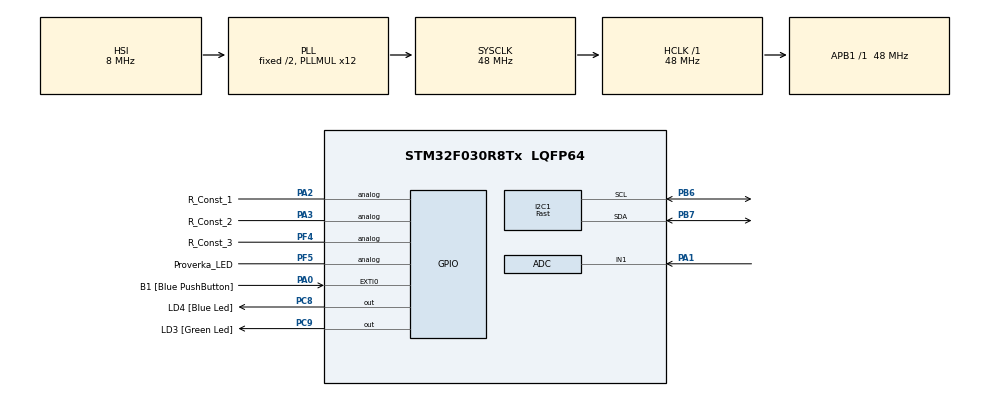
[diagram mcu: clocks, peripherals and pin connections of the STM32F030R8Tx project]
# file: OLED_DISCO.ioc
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ADC.ClockPrescaler=ADC_CLOCK_SYNC_PCLK_DIV4
ADC.ContinuousConvMode=ENABLE
ADC.EOCSelection=ADC_EOC_SEQ_CONV
ADC.EnableAnalogWatchDog=false
ADC.SamplingTime=ADC_SAMPLETIME_55CYCLES_5
I2C1.I2C_Speed_Mode=I2C_Fast
I2C1.Timing=0x0000020B
Mcu.Family=STM32F0
Mcu.Name=STM32F030R8Tx
Mcu.Package=LQFP64
NVIC.ADC1_IRQn=true\:3\:0\:true\:false\:true\:true\:true\:true
NVIC.EXTI0_1_IRQn=true\:0\:0\:true\:false\:true\:true\:true\:true
NVIC.I2C1_IRQn=true\:0\:0\:false\:false\:true\:true\:true\:true
NVIC.TIM3_IRQn=true\:3\:0\:true\:false\:true\:true\:true\:true
PA0.GPIO_Label=B1 [Blue PushButton]
PA0.GPIO_ModeDefaultEXTI=GPIO_MODE_IT_RISING
PA0.GPIO_PuPd=GPIO_PULLDOWN
PA0.Signal=GPXTI0
PA1.Mode=IN1
PA1.Signal=ADC_IN1
PA13.GPIO_Label=SWDIO
PA13.Mode=Serial_Wire
PA13.Signal=SYS_SWDIO
PA14.GPIO_Label=SWCLK
PA14.Mode=Serial_Wire
PA14.Signal=SYS_SWCLK
PA2.GPIO_Label=R_Const_1
PA2.Signal=GPIO_Analog
PA3.GPIO_Label=R_Const_2
PA3.Signal=GPIO_Analog
PB6.GPIO_FM6=SYSCFG_CFGR1_I2C_FMP_PB6
PB6.GPIO_Pu=GPIO_NOPULL
PB6.Mode=I2C
PB6.Signal=I2C1_SCL
PB7.GPIO_FM7=SYSCFG_CFGR1_I2C_FMP_PB7
PB7.GPIO_Pu=GPIO_NOPULL
PB7.Mode=I2C
PB7.Signal=I2C1_SDA
PC8.GPIO_Label=LD4 [Blue Led]
PC8.Signal=GPIO_Output
PC9.GPIO_Label=LD3 [Green Led]
PC9.Signal=GPIO_Output
PF0-OSC_IN.Mode=HSE-External-Oscillator
PF0-OSC_IN.Signal=RCC_OSC_IN
PF1-OSC_OUT.Mode=HSE-External-Oscillator
PF1-OSC_OUT.Signal=RCC_OSC_OUT
PF4.GPIO_Label=R_Const_3
PF4.GPIO_Mode=GPIO_MODE_ANALOG
PF4.Signal=GPIO_Analog
PF5.GPIO_Label=Proverka_LED
PF5.Signal=GPIO_Analog
ProjectManager.HeapSize=0x200
ProjectManager.StackSize=0x400
ProjectManager.TargetToolchain=STM32CubeIDE
RCC.AHBFreq_Value=48000000
RCC.APB1Freq_Value=48000000
RCC.APB1TimFreq_Value=48000000
RCC.HCLKFreq_Value=48000000
RCC.PLLMUL=RCC_PLL_MUL12
RCC.PWR_Regulator_Voltage_Scale=PWR_REGULATOR_VOLTAGE_SCALE2
RCC.RCC_TIM_PRescaler_Selection=RCC_TIMPRES_DESACTIVATED
RCC.SYSCLKFreq_VALUE=48000000
RCC.SYSCLKSource=RCC_SYSCLKSOURCE_PLLCLK
TIM3.Period=1
TIM3.Prescaler=15999
VP_TIM3_VS_ClockSourceINT.Mode=Internal
board=STM32F0308-DISCO

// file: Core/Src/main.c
/* USER CODE BEGIN Header */
/**
  ******************************************************************************
  * @file           : main.c
  * @brief          : Main program body
  ******************************************************************************
  * @attention
  *
  * Copyright (c) 2022 STMicroelectronics.
  * All rights reserved.
  *
  * This software is licensed under terms that can be found in the LICENSE file
  * in the root directory of this software component.
  * If no LICENSE file comes with this software, it is provided AS-IS.
  *
  ******************************************************************************
  */
/* USER CODE END Header */
#include "main.h"

/* USER CODE BEGIN Includes */
#include "ssd1306.h"
/* USER CODE END Includes */

ADC_HandleTypeDef hadc;

I2C_HandleTypeDef hi2c1;

TIM_HandleTypeDef htim3;

/* USER CODE BEGIN PV */
const float R_Const_1 = 180.0;    // R1 = 180.0 om
const float R_Const_2 = 4700.0;   // R2 = 4.7 кom
const float R_Const_3 = 100000.0; // R3 = 100.0 кom
float R0 = R_Const_2;
uint32_t uiADC;

uint8_t mstrelka_vlevo_passiv[32]  = {0x0, 0x0, 0x0, 0x80, 0x80, 0x40, 0x40, 0x20, 0x20, 0x10, 0x10, 0x8, 0x8, 0x4, 0x4, 0x0, 0x0, 0x1, 0x1, 0x2, 0x2, 0x4, 0x4, 0x8, 0x8, 0x10, 0x10, 0x20, 0x20, 0x40, 0x40, 0x0};
uint8_t mstrelka_vlevo_activ[32]   = {0xFF, 0xFF, 0xFF, 0x7F, 0x7F, 0xBF, 0xBF, 0xDF, 0xDF, 0xEF, 0xEF, 0xF7, 0xF7, 0xFB, 0xFB, 0xFF, 0xFF, 0xFE, 0xFE, 0xFD, 0xFD, 0xFB, 0xFB, 0xF7, 0xF7, 0xEF, 0xEF, 0xDF, 0xDF, 0xBF, 0xBF, 0xFF};
uint8_t mOK_passiv[48]             = {0x0, 0x0, 0x0, 0xF8, 0xFC, 0x4, 0x4, 0x4, 0x4, 0xFC, 0xF8, 0x0, 0x0, 0x0, 0xFC, 0xFC, 0xC0, 0x60, 0x30, 0x18, 0xC, 0x4, 0x0, 0x0, 0x0, 0x0, 0x0, 0x1F, 0x3F, 0x20, 0x20, 0x20, 0x20, 0x3F, 0x1F, 0x0, 0x0, 0x0, 0x3F, 0x3F, 0x1, 0x3, 0xE, 0x18, 0x30, 0x20, 0x0, 0x0};
uint8_t mOK_activ[48]              = {0xFF, 0xFF, 0x7, 0x3, 0x3, 0xF3, 0xF3, 0x3, 0x3, 0x7, 0xFF, 0xFF, 0xFF, 0x3, 0x3, 0x3, 0x3F, 0x1F, 0x8F, 0xC3, 0xE3, 0xF3, 0xFF, 0xFF, 0xFF, 0xFF, 0xE0, 0xC0, 0xC0, 0xCF, 0xCF, 0xC0, 0xC0, 0xE0, 0xFF, 0xFF, 0xFF, 0xC0, 0xC0, 0xC0, 0xFE, 0xFC, 0xF0, 0xC1, 0xC7, 0xCF, 0xFF, 0xFF};
uint8_t mstrelka_vpravo_passiv[32] = {0x0, 0x4, 0x4, 0x8, 0x8, 0x10, 0x10, 0x20, 0x20, 0x40, 0x40, 0x80, 0x80, 0x0, 0x0, 0x0, 0x0, 0x40, 0x40, 0x20, 0x20, 0x10, 0x10, 0x8, 0x8, 0x4, 0x4, 0x2, 0x2, 0x1, 0x1, 0x0};
uint8_t mstrelka_vpravo_activ[32]  = {0xFF, 0xFB, 0xFB, 0xF7, 0xF7, 0xEF, 0xEF, 0xDF, 0xDF, 0xBF, 0xBF, 0x7F, 0x7F, 0xFF, 0xFF, 0xFF, 0xFF, 0xBF, 0xBF, 0xDF, 0xDF, 0xEF, 0xEF, 0xF7, 0xF7, 0xFB, 0xFB, 0xFD, 0xFD, 0xFE, 0xFE, 0xFF};

uint8_t m220[32]                   = {0x0, 0x00, 0xC0, 0x20, 0x20, 0xC0, 0x00, 0xC0, 0x20, 0x20, 0xC0, 0x00, 0xC0, 0x20, 0x20, 0xC0, 0x0, 0x00, 0x38, 0x24, 0x22, 0x31, 0x00, 0x38, 0x24, 0x22, 0x31, 0x00, 0x1F, 0x20, 0x20, 0x1F};
uint8_t mL_Proverka_LED[32]        = {0x00, 0x0, 0xFC, 0xFC, 0xFC, 0x0, 0x0, 0x0, 0x0, 0x0, 0x0, 0x0, 0x0, 0x0, 0x0, 0x00, 0x00, 0x0, 0x7F, 0x7F, 0x7F, 0x60, 0x60, 0x60, 0x60, 0x60, 0x78, 0x78, 0x78, 0x0, 0x00, 0x00};
uint8_t m75[32]                    = {0x0, 0x00, 0x20, 0x20, 0x20, 0xE0, 0x00, 0xE0, 0x20, 0x20, 0x20, 0x00, 0x00, 0x00, 0x00, 0x00, 0x0, 0x00, 0x38, 0x04, 0x02, 0x01, 0x00, 0x11, 0x21, 0x21, 0x1E, 0x00, 0x00, 0x00, 0x00, 0x00};
uint8_t m22[32]                    = {0x0, 0x00, 0xC0, 0x20, 0x20, 0xC0, 0x00, 0xC0, 0x20, 0x20, 0xC0, 0x00, 0x00, 0x00, 0x00, 0x00, 0x0, 0x00, 0x38, 0x24, 0x22, 0x31, 0x00, 0x38, 0x24, 0x22, 0x31, 0x00, 0x00, 0x00, 0x00, 0x00};
uint8_t mV_Napriagenie[32]         = {0x00, 0x1C, 0x7C, 0xF0, 0xC0, 0x0, 0x0, 0x00, 0x0, 0x0, 0x0, 0xC0, 0xF0, 0x7C, 0x1C, 0x00, 0x00, 0x0, 0x00, 0x1, 0x7, 0xF, 0x1C, 0x78, 0x78, 0x1C, 0xF, 0x7, 0x1, 0x0, 0x00, 0x00};
uint8_t mR_Soprotivlenie[32]       = {0x00, 0x0, 0xFC, 0xFC, 0xFC, 0xC, 0xC, 0xC, 0xC, 0xC, 0xF8, 0xF8, 0xF0, 0x0, 0x0, 0x00, 0x00, 0x0, 0x7F, 0x7F, 0x7F, 0x7, 0xF, 0x1F, 0x3B, 0x73, 0x61, 0x61, 0x40, 0x0, 0x00, 0x00};

uint8_t m1[48]                     = {0x00, 0x00, 0x0, 0x80, 0xC0, 0xE0, 0xF8, 0xF8, 0x0, 0x0, 0x0, 0x0, 0x00, 0x00, 0x00, 0x00, 0x00, 0x00, 0x1, 0x1, 0x1, 0x1, 0xFF, 0xFF, 0x0, 0x0, 0x0, 0x0, 0x00, 0x00, 0x00, 0x00, 0x00, 0x0, 0xE0, 0xE0, 0xE0, 0xE0, 0xFF, 0xFF, 0xE0, 0xE0, 0xE0, 0xE0, 0x0, 0x0, 0x0, 0x0};
uint8_t m2[48]                     = {0x00, 0x00, 0xC0, 0xE0, 0x70, 0x38, 0x38, 0x38, 0x38, 0x70, 0xE0, 0xC0, 0x00, 0x00, 0x00, 0x00, 0x00, 0x00, 0x1, 0x1, 0x0, 0x80, 0xC0, 0xE0, 0x70, 0x38, 0x1F, 0xF, 0x00, 0x00, 0x00, 0x00, 0x00, 0x00, 0xFC, 0xFE, 0xE7, 0xE3, 0xE1, 0xE0, 0xE0, 0xE0, 0xFC, 0xFC, 0x0, 0x0, 0x0, 0x0};
uint8_t m3[48]                     = {0x00, 0x00, 0xC0, 0xE0, 0x70, 0x38, 0x38, 0x38, 0x38, 0x70, 0xE0, 0xC0, 0x00, 0x00, 0x00, 0x00, 0x00, 0x00, 0x1, 0x1, 0x0, 0x0, 0x20, 0x70, 0x70, 0xF8, 0xDF, 0x8F, 0x00, 0x00, 0x00, 0x00, 0x00, 0x0, 0x1C, 0x3C, 0x70, 0xE0, 0xE0, 0xE0, 0xE0, 0x70, 0x3F, 0x1F, 0x0, 0x0, 0x0, 0x0};
uint8_t m4[48]                     = {0x00, 0x00, 0x0, 0x0, 0x0, 0x0, 0x80, 0xC0, 0xE0, 0x70, 0xF8, 0xF8, 0x00, 0x00, 0x00, 0x00, 0x00, 0x00, 0xF8, 0xFC, 0x8E, 0x87, 0x83, 0x81, 0x80, 0x80, 0xFF, 0xFF, 0x00, 0x00, 0x00, 0x00, 0x00, 0x0, 0x3, 0x3, 0x3, 0x3, 0x3, 0x3, 0x3, 0x3, 0xFF, 0xFF, 0x0, 0x0, 0x0, 0x0};
uint8_t m5[48]                     = {0x00, 0x00, 0xF8, 0xF8, 0x38, 0x38, 0x38, 0x38, 0x38, 0x38, 0x38, 0x38, 0x00, 0x00, 0x00, 0x00, 0x00, 0x00, 0xF, 0xF, 0xE, 0xE, 0xE, 0xE, 0xE, 0x1C, 0xF8, 0xF0, 0x00, 0x00, 0x00, 0x00, 0x00, 0x0, 0x1C, 0x3C, 0x70, 0xE0, 0xE0, 0xE0, 0xE0, 0x70, 0x3F, 0x1F, 0x0, 0x0, 0x0, 0x0};
uint8_t m6[48]                     = {0x00, 0x00, 0x0, 0x0, 0x80, 0xC0, 0xE0, 0x70, 0x38, 0x18, 0x18, 0x0, 0x00, 0x00, 0x00, 0x00, 0x00, 0x00, 0xFE, 0xFF, 0x73, 0x71, 0x70, 0x70, 0x70, 0xE0, 0xC0, 0x80, 0x0, 0x00, 0x00, 0x00, 0x00, 0x0, 0x1F, 0x3F, 0x70, 0xE0, 0xE0, 0xE0, 0xE0, 0x70, 0x3F, 0x1F, 0x0, 0x0, 0x0, 0x0};
uint8_t m7[48]                     = {0x00, 0x00, 0x38, 0x38, 0x38, 0x38, 0x38, 0x38, 0x38, 0x38, 0xF8, 0xF8, 0x00, 0x00, 0x00, 0x00, 0x00, 0x00, 0x0, 0x0, 0x0, 0x80, 0xC0, 0xE0, 0x70, 0x38, 0x1F, 0xF, 0x0, 0x00, 0x00, 0x00, 0x00, 0x0, 0x0, 0x0, 0xFF, 0xFF, 0x1, 0x0, 0x0, 0x0, 0x0, 0x0, 0x0, 0x0, 0x0, 0x0};
uint8_t m8[48]                     = {0x00, 0x00, 0xC0, 0xE0, 0x70, 0x38, 0x38, 0x38, 0x38, 0x70, 0xE0, 0xC0, 0x00, 0x00, 0x00, 0x00, 0x00, 0x00, 0x8F, 0xDF, 0xF8, 0x70, 0x70, 0x70, 0x70, 0xF8, 0xDF, 0x8F, 0x0, 0x00, 0x00, 0x00, 0x00, 0x0, 0x1F, 0x3F, 0x70, 0xE0, 0xE0, 0xE0, 0xE0, 0x70, 0x3F, 0x1F, 0x0, 0x0, 0x0, 0x0};
uint8_t m9[48]                     = {0x00, 0x00, 0xC0, 0xE0, 0x70, 0x38, 0x38, 0x38, 0x38, 0x70, 0xE0, 0xC0, 0x00, 0x00, 0x00, 0x00, 0x00, 0x00, 0xF, 0x1F, 0x38, 0x70, 0x70, 0x70, 0x70, 0x70, 0xFF, 0xFF, 0x0, 0x00, 0x00, 0x00, 0x00, 0x0, 0x0, 0xC0, 0xC0, 0xE0, 0x70, 0x38, 0x1C, 0xE, 0x7, 0x3, 0x0, 0x0, 0x0, 0x0};
uint8_t m0[48]                     = {0x00, 0x00, 0xC0, 0xE0, 0x70, 0x38, 0x38, 0x38, 0x38, 0x70, 0xE0, 0xC0, 0x00, 0x00, 0x00, 0x00, 0x00, 0x00, 0xFF, 0xFF, 0x0, 0x0, 0x0, 0x0, 0x0, 0x0, 0xFF, 0xFF, 0x0, 0x00, 0x00, 0x00, 0x00, 0x0, 0x1F, 0x3F, 0x70, 0xE0, 0xE0, 0xE0, 0xE0, 0x70, 0x3F, 0x1F, 0x0, 0x0, 0x0, 0x0};

uint8_t mMegaOmy[48]               = {0x00, 0x00, 0xF8, 0xF8, 0xF8, 0xE0, 0x80, 0x0, 0x0, 0x0, 0x80, 0xE0, 0xF8, 0xF8, 0xF8, 0x00, 0x00, 0x00, 0xFF, 0xFF, 0xFF, 0x3, 0xF, 0x3E, 0xF8, 0x3E, 0xF, 0x3, 0xFF, 0xFF, 0xFF, 0x00, 0x00, 0x0, 0xFF, 0xFF, 0xFF, 0x0, 0x0, 0x0, 0x0, 0x0, 0x0, 0x0, 0xFF, 0xFF, 0xFF, 0x0};
uint8_t mKiloOmy[24]               = {0x00, 0x00, 0x00, 0x00, 0x00, 0x00, 0x00, 0x00, 0x00, 0xFC, 0xFC, 0x80, 0xC0, 0xF0, 0x3C, 0xC, 0x00, 0xFF, 0xFF, 0x3, 0xF, 0x3C, 0xF0, 0xC0};
uint8_t mOmy[24]                   = {0x00, 0x00, 0x00, 0x00, 0x00, 0x00, 0x00, 0x00, 0x00, 0x00, 0x00, 0x00, 0x00, 0x00, 0x00, 0x00, 0x00, 0x00, 0x00, 0x00, 0x00, 0x00, 0x00, 0x00};
uint8_t mBolshe[48]                = {0x00, 0x00, 0x18, 0x38, 0x78, 0xF0, 0xE0, 0xC0, 0x80, 0x0, 0x0, 0x0, 0x0, 0x0, 0x0, 0x00, 0x00, 0x00, 0x0, 0x0, 0x0, 0x0, 0x1, 0x3, 0x7, 0x8F, 0xDE, 0xFC, 0xF8, 0x70, 0x20, 0x00, 0x00, 0x0, 0xC0, 0xE0, 0xF0, 0x78, 0x3C, 0x1E, 0xF, 0x7, 0x3, 0x1, 0x0, 0x0, 0x0, 0x0};

uint8_t* mCifra[10]                = {m0, m1, m2, m3, m4, m5, m6, m7, m8, m9};

uint8_t cifra_s_tochkoj[48];

/* USER CODE END PV */

void SystemClock_Config(void);
static void MX_GPIO_Init(void);
static void MX_ADC_Init(void);
static void MX_I2C1_Init(void);
static void MX_TIM3_Init(void);

int main(void)
{

  /* MCU Configuration--------------------------------------------------------*/

  /* Reset of all peripherals, Initializes the Flash interface and the Systick. */
  HAL_Init();

  /* Configure the system clock */
  SystemClock_Config();

  /* Initialize all configured peripherals */
  MX_GPIO_Init();
  MX_ADC_Init();
  MX_I2C1_Init();
  MX_TIM3_Init();
  /* USER CODE BEGIN 2 */
  HAL_TIM_Base_Stop_IT (&htim3);
  NVIC_EnableIRQ (EXTI0_1_IRQn);
  fDiapazon_R (eDiapazon_R_2);
  SSD1306_Init ();
  while (SSD1306_IsReady () == 0);
  f_cikl_na_ekran (m220);
  HAL_ADC_Start_IT (&hadc);
  /* USER CODE END 2 */

  /* Infinite loop */
  while (1)
  {

  }
}

void SystemClock_Config(void)
{
  RCC_OscInitTypeDef RCC_OscInitStruct = {0};
  RCC_ClkInitTypeDef RCC_ClkInitStruct = {0};
  RCC_PeriphCLKInitTypeDef PeriphClkInit = {0};

  /** Initializes the RCC Oscillators according to the specified parameters
  * in the RCC_OscInitTypeDef structure.
  */
  RCC_OscInitStruct.OscillatorType = RCC_OSCILLATORTYPE_HSI;
  RCC_OscInitStruct.HSIState = RCC_HSI_ON;
  RCC_OscInitStruct.HSICalibrationValue = RCC_HSICALIBRATION_DEFAULT;
  RCC_OscInitStruct.PLL.PLLState = RCC_PLL_ON;
  RCC_OscInitStruct.PLL.PLLSource = RCC_PLLSOURCE_HSI;
  RCC_OscInitStruct.PLL.PLLMUL = RCC_PLL_MUL12;
  RCC_OscInitStruct.PLL.PREDIV = RCC_PREDIV_DIV1;
  if (HAL_RCC_OscConfig(&RCC_OscInitStruct) != HAL_OK)
  {
    Error_Handler();
  }

  /** Initializes the CPU, AHB and APB buses clocks
  */
  RCC_ClkInitStruct.ClockType = RCC_CLOCKTYPE_HCLK|RCC_CLOCKTYPE_SYSCLK
                              |RCC_CLOCKTYPE_PCLK1;
  RCC_ClkInitStruct.SYSCLKSource = RCC_SYSCLKSOURCE_PLLCLK;
  RCC_ClkInitStruct.AHBCLKDivider = RCC_SYSCLK_DIV1;
  RCC_ClkInitStruct.APB1CLKDivider = RCC_HCLK_DIV1;

  if (HAL_RCC_ClockConfig(&RCC_ClkInitStruct, FLASH_LATENCY_1) != HAL_OK)
  {
    Error_Handler();
  }
  PeriphClkInit.PeriphClockSelection = RCC_PERIPHCLK_I2C1;
  PeriphClkInit.I2c1ClockSelection = RCC_I2C1CLKSOURCE_HSI;
  if (HAL_RCCEx_PeriphCLKConfig(&PeriphClkInit) != HAL_OK)
  {
    Error_Handler();
  }
}

static void MX_ADC_Init(void)
{

  ADC_ChannelConfTypeDef sConfig = {0};

  /** Configure the global features of the ADC (Clock, Resolution, Data Alignment and number of conversion)
  */
  hadc.Instance = ADC1;
  hadc.Init.ClockPrescaler = ADC_CLOCK_SYNC_PCLK_DIV4;
  hadc.Init.Resolution = ADC_RESOLUTION_12B;
  hadc.Init.DataAlign = ADC_DATAALIGN_RIGHT;
  hadc.Init.ScanConvMode = ADC_SCAN_DIRECTION_FORWARD;
  hadc.Init.EOCSelection = ADC_EOC_SEQ_CONV;
  hadc.Init.LowPowerAutoWait = DISABLE;
  hadc.Init.LowPowerAutoPowerOff = DISABLE;
  hadc.Init.ContinuousConvMode = ENABLE;
  hadc.Init.DiscontinuousConvMode = DISABLE;
  hadc.Init.ExternalTrigConv = ADC_SOFTWARE_START;
  hadc.Init.ExternalTrigConvEdge = ADC_EXTERNALTRIGCONVEDGE_NONE;
  hadc.Init.DMAContinuousRequests = DISABLE;
  hadc.Init.Overrun = ADC_OVR_DATA_PRESERVED;
  if (HAL_ADC_Init(&hadc) != HAL_OK)
  {
    Error_Handler();
  }

  /** Configure for the selected ADC regular channel to be converted.
  */
  sConfig.Channel = ADC_CHANNEL_1;
  sConfig.Rank = ADC_RANK_CHANNEL_NUMBER;
  sConfig.SamplingTime = ADC_SAMPLETIME_55CYCLES_5;
  if (HAL_ADC_ConfigChannel(&hadc, &sConfig) != HAL_OK)
  {
    Error_Handler();
  }

}

static void MX_I2C1_Init(void)
{

  hi2c1.Instance = I2C1;
  hi2c1.Init.Timing = 0x0000020B;
  hi2c1.Init.OwnAddress1 = 0;
  hi2c1.Init.AddressingMode = I2C_ADDRESSINGMODE_7BIT;
  hi2c1.Init.DualAddressMode = I2C_DUALADDRESS_DISABLE;
  hi2c1.Init.OwnAddress2 = 0;
  hi2c1.Init.OwnAddress2Masks = I2C_OA2_NOMASK;
  hi2c1.Init.GeneralCallMode = I2C_GENERALCALL_DISABLE;
  hi2c1.Init.NoStretchMode = I2C_NOSTRETCH_DISABLE;
  if (HAL_I2C_Init(&hi2c1) != HAL_OK)
  {
    Error_Handler();
  }

  /** Configure Analogue filter
  */
  if (HAL_I2CEx_ConfigAnalogFilter(&hi2c1, I2C_ANALOGFILTER_ENABLE) != HAL_OK)
  {
    Error_Handler();
  }

  /** Configure Digital filter
  */
  if (HAL_I2CEx_ConfigDigitalFilter(&hi2c1, 0) != HAL_OK)
  {
    Error_Handler();
  }

}

static void MX_TIM3_Init(void)
{

  TIM_ClockConfigTypeDef sClockSourceConfig = {0};
  TIM_MasterConfigTypeDef sMasterConfig = {0};

  htim3.Instance = TIM3;
  htim3.Init.Prescaler = 15999;
  htim3.Init.CounterMode = TIM_COUNTERMODE_UP;
  htim3.Init.Period = 1;
  htim3.Init.ClockDivision = TIM_CLOCKDIVISION_DIV1;
  htim3.Init.AutoReloadPreload = TIM_AUTORELOAD_PRELOAD_DISABLE;
  if (HAL_TIM_Base_Init(&htim3) != HAL_OK)
  {
    Error_Handler();
  }
  sClockSourceConfig.ClockSource = TIM_CLOCKSOURCE_INTERNAL;
  if (HAL_TIM_ConfigClockSource(&htim3, &sClockSourceConfig) != HAL_OK)
  {
    Error_Handler();
  }
  sMasterConfig.MasterOutputTrigger = TIM_TRGO_RESET;
  sMasterConfig.MasterSlaveMode = TIM_MASTERSLAVEMODE_DISABLE;
  if (HAL_TIMEx_MasterConfigSynchronization(&htim3, &sMasterConfig) != HAL_OK)
  {
    Error_Handler();
  }

}

static void MX_GPIO_Init(void)
{
  GPIO_InitTypeDef GPIO_InitStruct = {0};

  /* GPIO Ports Clock Enable */
  __HAL_RCC_GPIOC_CLK_ENABLE();
  __HAL_RCC_GPIOF_CLK_ENABLE();
  __HAL_RCC_GPIOA_CLK_ENABLE();
  __HAL_RCC_GPIOB_CLK_ENABLE();
  __HAL_RCC_GPIOD_CLK_ENABLE();

  /*Configure GPIO pin Output Level */
  HAL_GPIO_WritePin(GPIOC, LD4_Pin|LD3_Pin, GPIO_PIN_RESET);

  /*Configure GPIO pins : PC13 PC14 PC15 PC0
                           PC1 PC2 PC3 PC4
                           PC5 PC6 PC7 PC10
                           PC11 PC12 */
  GPIO_InitStruct.Pin = GPIO_PIN_13|GPIO_PIN_14|GPIO_PIN_15|GPIO_PIN_0
                          |GPIO_PIN_1|GPIO_PIN_2|GPIO_PIN_3|GPIO_PIN_4
                          |GPIO_PIN_5|GPIO_PIN_6|GPIO_PIN_7|GPIO_PIN_10
                          |GPIO_PIN_11|GPIO_PIN_12;
  GPIO_InitStruct.Mode = GPIO_MODE_ANALOG;
  GPIO_InitStruct.Pull = GPIO_NOPULL;
  HAL_GPIO_Init(GPIOC, &GPIO_InitStruct);

  /*Configure GPIO pin : B1_Pin */
  GPIO_InitStruct.Pin = B1_Pin;
  GPIO_InitStruct.Mode = GPIO_MODE_IT_RISING;
  GPIO_InitStruct.Pull = GPIO_PULLDOWN;
  HAL_GPIO_Init(B1_GPIO_Port, &GPIO_InitStruct);

  /*Configure GPIO pins : R_Const_1_Pin R_Const_2_Pin PA4 PA5
                           PA6 PA7 PA8 PA9
                           PA10 PA11 PA12 PA15 */
  GPIO_InitStruct.Pin = R_Const_1_Pin|R_Const_2_Pin|GPIO_PIN_4|GPIO_PIN_5
                          |GPIO_PIN_6|GPIO_PIN_7|GPIO_PIN_8|GPIO_PIN_9
                          |GPIO_PIN_10|GPIO_PIN_11|GPIO_PIN_12|GPIO_PIN_15;
  GPIO_InitStruct.Mode = GPIO_MODE_ANALOG;
  GPIO_InitStruct.Pull = GPIO_NOPULL;
  HAL_GPIO_Init(GPIOA, &GPIO_InitStruct);

  /*Configure GPIO pins : R_Const_3_Pin Proverka_LED_Pin PF6 PF7 */
  GPIO_InitStruct.Pin = R_Const_3_Pin|Proverka_LED_Pin|GPIO_PIN_6|GPIO_PIN_7;
  GPIO_InitStruct.Mode = GPIO_MODE_ANALOG;
  GPIO_InitStruct.Pull = GPIO_NOPULL;
  HAL_GPIO_Init(GPIOF, &GPIO_InitStruct);

  /*Configure GPIO pins : PB0 PB1 PB2 PB10
                           PB11 PB12 PB13 PB14
                           PB15 PB3 PB4 PB5
                           PB8 PB9 */
  GPIO_InitStruct.Pin = GPIO_PIN_0|GPIO_PIN_1|GPIO_PIN_2|GPIO_PIN_10
                          |GPIO_PIN_11|GPIO_PIN_12|GPIO_PIN_13|GPIO_PIN_14
                          |GPIO_PIN_15|GPIO_PIN_3|GPIO_PIN_4|GPIO_PIN_5
                          |GPIO_PIN_8|GPIO_PIN_9;
  GPIO_InitStruct.Mode = GPIO_MODE_ANALOG;
  GPIO_InitStruct.Pull = GPIO_NOPULL;
  HAL_GPIO_Init(GPIOB, &GPIO_InitStruct);

  /*Configure GPIO pins : LD4_Pin LD3_Pin */
  GPIO_InitStruct.Pin = LD4_Pin|LD3_Pin;
  GPIO_InitStruct.Mode = GPIO_MODE_OUTPUT_PP;
  GPIO_InitStruct.Pull = GPIO_NOPULL;
  GPIO_InitStruct.Speed = GPIO_SPEED_FREQ_LOW;
  HAL_GPIO_Init(GPIOC, &GPIO_InitStruct);

  /*Configure GPIO pin : PD2 */
  GPIO_InitStruct.Pin = GPIO_PIN_2;
  GPIO_InitStruct.Mode = GPIO_MODE_ANALOG;
  GPIO_InitStruct.Pull = GPIO_NOPULL;
  HAL_GPIO_Init(GPIOD, &GPIO_InitStruct);

  /* EXTI interrupt init*/
  HAL_NVIC_SetPriority(EXTI0_1_IRQn, 0, 0);
  HAL_NVIC_EnableIRQ(EXTI0_1_IRQn);

}

/* USER CODE BEGIN 4 */
/*----------------------------------------------------------------------------*/
void f_Dobavit_Tochku_k_Cifre (uint8_t* pcifra)
{
 for (uint8_t j = 0; j < 48; j++)
 {
  cifra_s_tochkoj[j] = pcifra[j];
 }

 cifra_s_tochkoj[46] = cifra_s_tochkoj[46] + 224;
 cifra_s_tochkoj[47] = cifra_s_tochkoj[47] + 224;
}
/*----------------------------------------------------------------------------*/
void f_Chislo_v_Cifry (float fchislo)
{
 if (fchislo >= 1000000.0)
 {
  SSD1306_ClearBlock (0, 15, 2, 4);
  SSD1306_SendBlock (mBolshe, 48, 16, 31, 2, 4);
  f_Dobavit_Tochku_k_Cifre (mCifra[1]);
  SSD1306_SendBlock (cifra_s_tochkoj, 48, 32, 47, 2, 4);
  SSD1306_SendBlock (mMegaOmy, 48, 48, 63, 2, 4);
  SSD1306_SendBlock (mOmy, 24, 64, 71, 2, 4);
  return;
 }
 if (fchislo >= 1000.0)
 {
  f_4_Cifry_Chisla (fchislo);
  SSD1306_SendBlock (mKiloOmy, 24, 64, 71, 2, 4);
  return;
 }
 f_4_Cifry_Chisla (fchislo * 1000.0);
 SSD1306_SendBlock (mOmy, 24, 64, 71, 2, 4);
}
/*----------------------------------------------------------------------------*/
void f_4_Cifry_Chisla (float fchislo)
{
 uint8_t cifra;
 cifra = fchislo / 100000; // цифра сотен
 if (cifra == 0)
  SSD1306_ClearBlock (0, 15, 2, 4);
 else
  SSD1306_SendBlock (mCifra[cifra], 48, 0, 15, 2, 4);
 fchislo -= 100000 * cifra;

 cifra = fchislo / 10000;  // цифра десяток
 if (cifra == 0)
  SSD1306_ClearBlock (16, 31, 2, 4);
 else
  SSD1306_SendBlock (mCifra[cifra], 48, 16, 31, 2, 4);
 fchislo -= 10000 * cifra;

 cifra = fchislo / 1000;  // цифра единиц
 f_Dobavit_Tochku_k_Cifre (mCifra[cifra]);
 SSD1306_SendBlock (cifra_s_tochkoj, 48, 32, 47, 2, 4);
 fchislo -= 1000 * cifra;

 cifra = fchislo / 100;  // цифра дробной части
 SSD1306_SendBlock (mCifra[cifra], 48, 48, 63, 2, 4);
}
/*----------------------------------------------------------------------------*/
void f_strelka_vlevo_OK_strelka_vpravo_na_ekran (uint8_t* pstrelka_vlevo, uint8_t* pOK, uint8_t* pstrelka_vpravo)
{
 SSD1306_SendBlock (pstrelka_vlevo, 32, 0, 15, 0, 1);
 SSD1306_SendBlock (pOK, 48, 16, 39, 0, 1);
 SSD1306_SendBlock (pstrelka_vpravo, 32, 40, 55, 0, 1);
}
/*----------------------------------------------------------------------------*/
inline void f_cikl_na_ekran (uint8_t* pbuf)
{
 SSD1306_SendBlock (pbuf, 32, 56, 71, 0, 1);
}

inline void f_ClearBlock (uint8_t xStart, uint8_t xEnd, uint8_t yStart, uint8_t yEnd)
{
 SSD1306_ClearBlock (xStart, xEnd, yStart, yEnd);
}
/*----------------------------------------------------------------------------*/
/* USER CODE END 4 */

void Error_Handler(void)
{
  __disable_irq();
  while (1)
  {
  }
}
